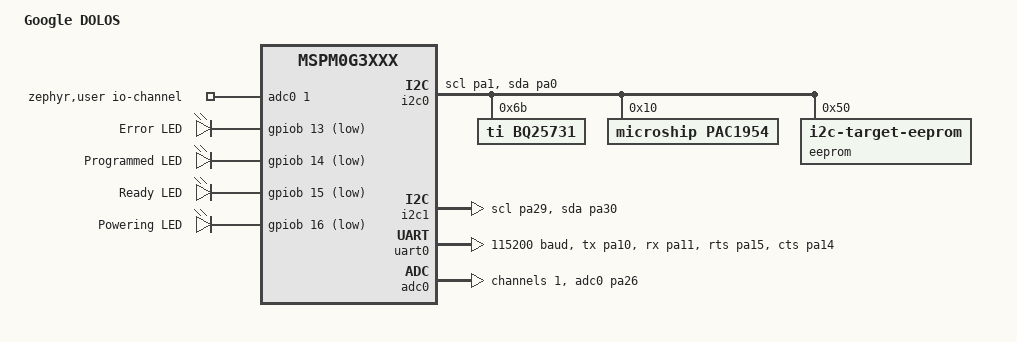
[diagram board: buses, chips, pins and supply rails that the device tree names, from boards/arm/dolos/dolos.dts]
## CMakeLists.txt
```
# Copyright 2024 The ChromiumOS Authors
# Use of this source code is governed by a BSD-style license that can be
# found in the LICENSE file.

cmake_minimum_required(VERSION 3.20.0)

list(APPEND BOARD_ROOT ${CMAKE_CURRENT_SOURCE_DIR})
set(BOARD dolos)

find_package(Zephyr REQUIRED HINTS $ENV{ZEPHYR_BASE})
project(Dolos)

FILE(GLOB src_c src/*.c)

target_sources(app PRIVATE ${src_c} ${drivers_c})
```

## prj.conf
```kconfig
# Copyright 2024 The ChromiumOS Authors
# Use of this source code is governed by a BSD-style license that can be
# found in the LICENSE file.

CONFIG_I2C=y
CONFIG_ADC=y
# enable %f formatting for printf and printk
CONFIG_CBPRINTF_FP_SUPPORT=y
# enable logs
CONFIG_LOG=y
# enable LTO
CONFIG_LTO=y
CONFIG_ISR_TABLES_LOCAL_DECLARATION=y
# enable shell
CONFIG_SHELL=y
CONFIG_SHELL_TAB=y
CONFIG_SHELL_TAB_AUTOCOMPLETION=y
CONFIG_SHELL_BACKEND_SERIAL_INTERRUPT_DRIVEN=y
CONFIG_SHELL_PROMPT_UART="dolos:~> "
CONFIG_I2C_SHELL=y
CONFIG_CRC=y
# enable events
CONFIG_EVENTS=y
# enable state machine framework
CONFIG_SMF=y
# enable LED API
CONFIG_LED=y
# enable system reboot
CONFIG_REBOOT=y
# enable i2c statistics
CONFIG_STATS=y
CONFIG_I2C_STATS=y

# Copied from Ti dev board
# TODO: remove duplicates
CONFIG_CORTEX_M_SYSTICK=y
CONFIG_GPIO=y
CONFIG_SERIAL=y
CONFIG_CONSOLE=y
CONFIG_UART_CONSOLE=y
CONFIG_CLOCK_CONTROL=y
```

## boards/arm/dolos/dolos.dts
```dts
/* Copyright 2024 The ChromiumOS Authors
 * Use of this source code is governed by a BSD-style license that can be
 * found in the LICENSE file.
 */

/dts-v1/;

#include <ti/mspm0g1x0x_g3x0x/mspm0g3507.dtsi>
#include "mspm0g3507-pinctrl.dtsi"
#include "dt-bindings/adc/mspm0_adc.h"

#include <freq.h>

/ {
	model = "Google DOLOS";
	compatible = "google,dolos", "ti,mspm0g3507", "ti,mspm0g3xxx";

	chosen {
		zephyr,sram = &sram0;
		zephyr,flash = &flash0;
		zephyr,console = &uart0;
		zephyr,shell-uart = &uart0;
	};

	zephyr,user {
		io-channels = <&adc0 1>;
	};

	leds: leds {
		compatible = "gpio-leds";
		lederr: led_error {
			gpios = <&gpiob 13 GPIO_ACTIVE_LOW>;
			label = "Error LED";
		};
		ledprg: led_programmed {
			gpios = <&gpiob 14 GPIO_ACTIVE_LOW>;
			label = "Programmed LED";
		};
		ledrdy: led_ready {
			gpios = <&gpiob 15 GPIO_ACTIVE_LOW>;
			label = "Ready LED";
		};
		ledpwr: led_powering {
			gpios = <&gpiob 16 GPIO_ACTIVE_LOW>;
			label = "Powering LED";
		};
	};

	ctrl-pins {
		compatible = "ctrl-pins";
		output_enable: output_enable {
			gpios = <&gpiob 12 GPIO_ACTIVE_HIGH>;
			label = "Dolos output enable control pin";
		};
		system_present: system_present {
			gpios = <&gpioa 13 GPIO_ACTIVE_HIGH>;
			label = "System present input signal";
		};
		efuse_pg: efuse_pg {
			gpios = <&gpiob 27 GPIO_ACTIVE_HIGH>;
			label = "EFUSE power good input signal";
		};
		bq_charge_ok: bq_charge_ok {
			gpios = <&gpioa 17 GPIO_ACTIVE_HIGH>;
			label = "BQ Charge OK input signal";
		};
	};
};

&i2c0 {
	pinctrl-0 = <&i2c0_scl_pa1 &i2c0_sda_pa0>;
	pinctrl-names = "default";
	status = "okay";

	bq25731: bq25731@6b {
		compatible = "ti,bq25731";
		reg = <0x6b>;
	};

	pac1954: pac1954@10 {
		compatible = "microship,pac1954";
		reg = <0x10>;
	};

	eeprom: eeprom@50 {
		compatible = "zephyr,i2c-target-eeprom";
		reg = <0x50>;
		size = <1024>;
	};
};

&i2c1 {
	pinctrl-0 = <&i2c1_scl_pa29 &i2c1_sda_pa30>;
	pinctrl-names = "default";
	status = "okay";
};

&cpu0 {
	clock-frequency = <DT_FREQ_M(32)>;
};

&gpioa {
	status = "okay";
};

&gpiob {
	status = "okay";
};

&uart0 {
	status = "okay";
	current-speed = <115200>;
	pinctrl-0 = <&uart0_tx_pa10 &uart0_rx_pa11 &uart0_rts_pa15 &uart0_cts_pa14>;
	pinctrl-names = "default";
	hw-flow-control;
};

&adc0 {
	status = "okay";
	ti,clk-source = <MSP_ADC_CLOCK_ULPCLK>;
	ti,clk-divider = <1>;
	ti,clk-range = <MSP_ADC_CLOCK_RANGE_24TO32>;

	pinctrl-0 = <&adc0_pa26>;
	pinctrl-names = "default";

	#address-cells = <1>;
	#size-cells = <0>;

	channel@1 {
		reg = <1>;
		zephyr,gain = "ADC_GAIN_1";
		zephyr,reference = "ADC_REF_VDD_1";
		zephyr,acquisition-time =<ADC_ACQ_TIME(ADC_ACQ_TIME_TICKS, 4)>;
		zephyr,resolution = <12>;
	};
};

&clkmux {
	clock-source = <&pll>;
	clock-frequency = <DT_FREQ_M(80)>;
	uclk-div = <2>;
};
```

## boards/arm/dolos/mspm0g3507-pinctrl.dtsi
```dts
#include <dt-bindings/pinctrl/mspm0-pinctrl.h>
&pinctrl {
	i2c0_sda_pa0: i2c0_sda_pa0 {
		pinmux = <MSP_PINMUX(1,MSPM0_PIN_FUNCTION_3)>;
		input-enable;
		drive-open-drain;
	};
	i2c0_scl_pa1: i2c0_scl_pa1 {
		pinmux = <MSP_PINMUX(2,MSPM0_PIN_FUNCTION_3)>;
		input-enable;
		drive-open-drain;
	};
	i2c1_scl_pb2_pull_up: i2c1_scl_pb2_pull_up {
		pinmux = <MSP_PINMUX(15,MSPM0_PIN_FUNCTION_4)>;
		input-enable;
		bias-pull-up;
		drive-open-drain;
	};
	i2c1_sda_pb3_pull_up: i2c1_sda_pb3_pull_up {
		pinmux = <MSP_PINMUX(16,MSPM0_PIN_FUNCTION_4)>;
		input-enable;
		bias-pull-up;
		drive-open-drain;
	};
	i2c1_scl_pb2: i2c1_scl_pb2 {
		pinmux = <MSP_PINMUX(15,MSPM0_PIN_FUNCTION_4)>;
		input-enable;
		drive-open-drain;
	};
	i2c1_sda_pb3: i2c1_sda_pb3 {
		pinmux = <MSP_PINMUX(16,MSPM0_PIN_FUNCTION_4)>;
		input-enable;
		drive-open-drain;
	};
	i2c1_scl_pa11_pull_up: i2c1_scl_pa11_pull_up {
		pinmux = <MSP_PINMUX(22,MSPM0_PIN_FUNCTION_8)>;
		input-enable;
		bias-pull-up;
		drive-open-drain;
	};
	i2c1_sda_pa10_pull_up: i2c1_sda_pa10_pull_up {
		pinmux = <MSP_PINMUX(21,MSPM0_PIN_FUNCTION_8)>;
		input-enable;
		bias-pull-up;
		drive-open-drain;
	};
	i2c1_sda_pa16_pull_up: i2c1_sda_pa16_pull_up {
		pinmux = <MSP_PINMUX(38,MSPM0_PIN_FUNCTION_4)>;
		input-enable;
		bias-pull-up;
		drive-open-drain;
	};
	i2c1_scl_pa17_pull_up: i2c1_scl_pa17_pull_up {
		pinmux = <MSP_PINMUX(39,MSPM0_PIN_FUNCTION_4)>;
		input-enable;
		bias-pull-up;
		drive-open-drain;
	};
	i2c1_scl_pa29_pull_up: i2c1_scl_pa29_pull_up {
		pinmux = <MSP_PINMUX(4,MSPM0_PIN_FUNCTION_2)>;
		input-enable;
		bias-pull-up;
		drive-open-drain;
	};
	i2c1_sda_pa30_pull_up: i2c1_sda_pa30_pull_up {
		pinmux = <MSP_PINMUX(5,MSPM0_PIN_FUNCTION_2)>;
		input-enable;
		bias-pull-up;
		drive-open-drain;
	};
	i2c1_scl_pa29: i2c1_scl_pa29 {
		pinmux = <MSP_PINMUX(4,MSPM0_PIN_FUNCTION_2)>;
		input-enable;
		drive-open-drain;
	};
	i2c1_sda_pa30: i2c1_sda_pa30 {
		pinmux = <MSP_PINMUX(5,MSPM0_PIN_FUNCTION_2)>;
		input-enable;
		drive-open-drain;
	};
	uart0_tx_pa10: uart_tx_pa10 {
		pinmux = <MSP_PINMUX(21,MSPM0_PIN_FUNCTION_2)>;
	};
	uart0_rx_pa11: uart_rx_pa11 {
		pinmux = <MSP_PINMUX(22,MSPM0_PIN_FUNCTION_2)>;
		input-enable;
	};
	uart0_rts_pa15: uart0_rts_pa15{
		pinmux = <MSP_PINMUX(37,MSPM0_PIN_FUNCTION_2)>;
		input-enable;
	};
	uart0_cts_pa14: uart0_cts_pa14{
		pinmux = <MSP_PINMUX(36,MSPM0_PIN_FUNCTION_2)>;
		input-enable;
	};
	adc0_pa25: adc0_pa25 {
		pinmux = <MSP_PINMUX(55,MSPM0_PIN_FUNCTION_ANALOG)>;
	};
	adc0_pa26: adc0_pa26 {
		pinmux = <MSP_PINMUX(59,MSPM0_PIN_FUNCTION_ANALOG)>;
	};
	adc0_pb24: adc0_pb24 {
		pinmux = <MSP_PINMUX(52,MSPM0_PIN_FUNCTION_ANALOG)>;
	};
	adc1_pb19: adc1_pb19 {
		pinmux = <MSP_PINMUX(45,MSPM0_PIN_FUNCTION_ANALOG)>;
	};
	can0_rx_pa13: can0_rx_pa13 {
		pinmux = <MSP_PINMUX(35,MSPM0_PIN_FUNCTION_6)>;
		input-enable;
	};
	can0_tx_pa12: can0_tx_pa12 {
		pinmux = <MSP_PINMUX(34,MSPM0_PIN_FUNCTION_5)>;
	};
};
```

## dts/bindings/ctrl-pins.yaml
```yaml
# Copyright 2024 The ChromiumOS Authors
# Use of this source code is governed by a BSD-style license that can be
# found in the LICENSE file.

description: Dolos control pins

compatible: "ctrl-pins"

child-binding:
  description: |
    Control pins child node
  properties:
    gpios:
      type: phandle-array
      required: true
      description: |
        The GPIO pin for control I/O
    label:
      type: string
      description: |
        Human readable string describing the control pin
```

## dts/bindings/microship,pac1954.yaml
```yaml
# Copyright 2024 The ChromiumOS Authors
# Use of this source code is governed by a BSD-style license that can be
# found in the LICENSE file.

description: PAC195X Single/Multi-Channel Power Monitor with Accumulator, 32V Full-Scale Range

compatible: "microship,pac1954"

include: i2c-device.yaml
```

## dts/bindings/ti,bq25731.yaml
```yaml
# Copyright 2024 The ChromiumOS Authors
# Use of this source code is governed by a BSD-style license that can be
# found in the LICENSE file.

description: BQ25731 I2C 1- to 5-Cell Buck-Boost Battery Charge Controller with USB-C PD 3.0OTG Output

compatible: "ti,bq25731"

include: i2c-device.yaml
```

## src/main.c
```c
/* Copyright 2024 The ChromiumOS Authors
 * Use of this source code is governed by a BSD-style license that can be
 * found in the LICENSE file.
 */

#include "eeprom.h"
#include "led.h"
#include "smart_battery.h"
#include "smbus_target.h"

#include <zephyr/device.h>
#include <zephyr/kernel.h>
#include <zephyr/sys/printk.h>

int main(void)
{
	printk("Starting Dolos\n");

	dled_program_led_turn_on();

	// EEPROM checks
	if (eeprom_read_data() != 0) {
		// We can not read the EEPROM
		dled_error_led_turn_on();
	} else if (eeprom_crc32_check() != 0) {
		// EEPROM CRC is invalid
		dled_error_led_turn_on();
	}

	sb_init();
	smbus_target_init();

	while (true) {
		k_sleep(K_FOREVER);
	}
}
```

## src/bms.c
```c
/* Copyright 2024 The ChromiumOS Authors
 * Use of this source code is governed by a BSD-style license that can be
 * found in the LICENSE file.
 */

#include "bms.h"
#include "buck_boost.h"
#include "eeprom.h"
#include "error.h"
#include "led.h"
#include "smbus_target.h"

#include <stdint.h>

#include <zephyr/device.h>
#include <zephyr/drivers/gpio.h>
#include <zephyr/kernel.h>
#include <zephyr/logging/log.h>
#include <zephyr/smf.h>

static bool power_output_state = false;
LOG_MODULE_REGISTER(bms, LOG_LEVEL_DBG);

/**
 * GPIO info
 */
static const struct gpio_dt_spec sys_pres_spec =
	GPIO_DT_SPEC_GET(DT_NODELABEL(system_present), gpios);
static const struct gpio_dt_spec out_en_spec =
	GPIO_DT_SPEC_GET(DT_NODELABEL(output_enable), gpios);
static const struct gpio_dt_spec efuse_pg_spec =
	GPIO_DT_SPEC_GET(DT_NODELABEL(efuse_pg), gpios);
static const struct gpio_dt_spec bq_chrg_ok =
	GPIO_DT_SPEC_GET(DT_NODELABEL(bq_charge_ok), gpios);

static bool sys_pres_pol = true;
/**
 * There are certain devices that should not be powered on
 * only based on sys_present signal but also extra I2C communication
 */
static bool sys_pres_is_floating = false;
static bool force_sys_pres_flag;
static bool force_sys_pres_value;

/**
 * Gets the system present signal and takes polarity into condsideration
 */
static bool gpio_get_sys_pres(void)
{
	if (force_sys_pres_flag) {
		return force_sys_pres_value;
	}

	bool sys_pres_sig = gpio_pin_get_dt(&sys_pres_spec);
	return (sys_pres_pol == sys_pres_sig);
}

/**
 * @brief Enables Dolos output.
 */
static void bms_enable_power_output(bool enable)
{
	if (enable) {
		gpio_pin_set_dt(&out_en_spec, 1);
		power_output_state = true;
		dled_powering_led_turn_on();
	} else {
		gpio_pin_set_dt(&out_en_spec, 0);
		power_output_state = false;
		dled_powering_led_turn_off();
	}
}

enum gpio_config_idx {
	GPIO_CONFIG_IDX_SYS_PRES = 0,
	GPIO_CONFIG_IDX_EFUSE_PG,
	GPIO_CONFIG_IDX_BQ_CHRG_OK,
	GPIO_CONFIG_IDX_OUT_EN,
};

bool bms_get_power_output_state()
{
	return power_output_state;
}

/**
 * Helper struct to initialize GPIO
 */
struct gpio_config {
	const struct gpio_dt_spec *pin_spec;
	uint32_t flags;
};

static struct gpio_config gpio_configs[] = {
	[GPIO_CONFIG_IDX_SYS_PRES] = { &sys_pres_spec, GPIO_INPUT },
	[GPIO_CONFIG_IDX_EFUSE_PG] = { &efuse_pg_spec, GPIO_INPUT },
	[GPIO_CONFIG_IDX_BQ_CHRG_OK] = { &bq_chrg_ok, GPIO_INPUT },
	[GPIO_CONFIG_IDX_OUT_EN] = { &out_en_spec, GPIO_OUTPUT_INACTIVE },
};

/**
 * BMS info
 */
struct bms_signal_state_tracker {
	/* Current state of the pin - true = HIGH, false = LOW */
	bool state;
	/* No of ticks passed since the low/high state. */
	uint8_t ticks[2];
	/* No of ticks needed to switch to that state. */
	uint8_t min_ticks[2];
	/*stats for state changes*/
	uint32_t state_count;
};

static struct bms_signal_state_tracker efuse_signal_state = {
	.state = false,
	.ticks = { 0 },
	.min_ticks = { 2, 2 },
	.state_count = 0,
};

static struct bms_signal_state_tracker system_present_signal_state = {
	.state = false,
	.ticks = { 0 },
	.min_ticks = { 2, 2 },
	.state_count = 0,

};

static struct bms_signal_state_tracker bq_charge_ok_signal_state = {
	.state = false,
	.ticks = { 0 },
	.min_ticks = { 1, 1 },
	.state_count = 0,
};

/**
 * EFUSE_PG Timer
 */
struct k_timer efuse_pg_timer;

K_TIMER_DEFINE(efuse_pg_timer, NULL, NULL);

/**
 * State machine info
 */
struct bms_state_data {
	struct smf_ctx ctx;
} state_data;

static const struct smf_state bms_states[];

/**
 * @brief BMS_STATE_POWER_OUTPUT_OFF entry handler
 */
static void power_output_off_state_entry(void *o)
{
	LOG_DBG("Executing %s entry", ENUM_NAME(BMS_STATE_POWER_OUTPUT_OFF));
	bms_enable_power_output(false);
}

/**
 * @brief BMS_STATE_POWER_OUTPUT_OFF run handler
 */
static void power_output_off_state_run(void *o)
{
	if (system_present_signal_state.state &&
	    bq_charge_ok_signal_state.state) {
		LOG_DBG("Changing state to %s", ENUM_NAME(BMS_STATE_TIMER));
		smf_set_state(SMF_CTX(&state_data),
			      &bms_states[BMS_STATE_TIMER]);
	}
}

static void handle_disconnect(void)
{
	if (sys_pres_is_floating) {
		LOG_DBG("Changing state to %s",
			ENUM_NAME(BMS_STATE_COMM_POWER_OFF));
		smf_set_state(SMF_CTX(&state_data),
			      &bms_states[BMS_STATE_COMM_POWER_OFF]);
	} else {
		LOG_DBG("Changing state to %s",
			ENUM_NAME(BMS_STATE_POWER_OUTPUT_OFF));
		smf_set_state(SMF_CTX(&state_data),
			      &bms_states[BMS_STATE_POWER_OUTPUT_OFF]);
	}
}

/**
 * @brief BMS_STATE_TIMER entry handler
 */
static void timer_state_entry(void *o)
{
	LOG_DBG("Executing %s entry", ENUM_NAME(BMS_STATE_TIMER));

	/* Make sure BQ is initialized correctly before enabling the output */
	bq25731_init();

	bms_enable_power_output(true);
	k_timer_start(&efuse_pg_timer, K_SECONDS(5), K_NO_WAIT);
}

/**
 * @brief BMS_STATE_TIMER run handler
 */
static void timer_state_run(void *o)
{
	if (!system_present_signal_state.state ||
	    !bq_charge_ok_signal_state.state) {
		handle_disconnect();
		return;
	}

	if (k_timer_status_get(&efuse_pg_timer) == 0) {
		return;
	}

	if (efuse_signal_state.state) {
		LOG_DBG("Changing state to %s",
			ENUM_NAME(BMS_STATE_POWER_OUTPUT_ON));
		smf_set_state(SMF_CTX(&state_data),
			      &bms_states[BMS_STATE_POWER_OUTPUT_ON]);
	} else {
		LOG_DBG("Changing state to %s",
			ENUM_NAME(BMS_STATE_POWER_GOOD_WAIT));
		smf_set_state(SMF_CTX(&state_data),
			      &bms_states[BMS_STATE_POWER_GOOD_WAIT]);
	}
}

/**
 * @brief BMS_STATE_POWER_GOOD_WAIT entry handler
 */
static void power_good_wait_state_entry(void *o)
{
	LOG_DBG("Executing %s entry", ENUM_NAME(BMS_STATE_POWER_GOOD_WAIT));
	bms_enable_power_output(false);
}

/**
 * @brief BMS_STATE_POWER_GOOD_WAIT run handler
 */
static void power_good_wait_state_run(void *o)
{
	if (!system_present_signal_state.state ||
	    !bq_charge_ok_signal_state.state) {
		handle_disconnect();
		return;
	}

	if (efuse_signal_state.state) {
		LOG_DBG("Changing state to %s",
			ENUM_NAME(BMS_STATE_POWER_OUTPUT_ON));
		smf_set_state(SMF_CTX(&state_data),
			      &bms_states[BMS_STATE_POWER_OUTPUT_ON]);
	}
}

/**
 * @brief BMS_STATE_POWER_OUTPUT_ON entry handler
 */
static void power_output_on_state_entry(void *o)
{
	LOG_DBG("Executing %s entry", ENUM_NAME(BMS_STATE_POWER_OUTPUT_ON));
	bms_enable_power_output(true);
}

/**
 * @brief BMS_STATE_POWER_OUTPUT_ON run handler
 */
static void power_output_on_state_run(void *o)
{
	if (!system_present_signal_state.state ||
	    !bq_charge_ok_signal_state.state) {
		handle_disconnect();
		return;
	}

	if (!efuse_signal_state.state) {
		LOG_DBG("Changing state to %s",
			ENUM_NAME(BMS_STATE_POWER_GOOD_WAIT));
		smf_set_state(SMF_CTX(&state_data),
			      &bms_states[BMS_STATE_POWER_GOOD_WAIT]);
	}
}

/**
 * @brief BMS_STATE_COMM_POWER_OFF entry handler
 */
static void comm_power_off_state_entry(void *o)
{
	LOG_DBG("Executing %s entry", ENUM_NAME(BMS_STATE_COMM_POWER_OFF));
	bms_enable_power_output(false);
}

/**
 * @brief BMS_STATE_COMM_POWER_OFF run handler
 */
static void comm_power_off_state_run(void *o)
{
	/*
	 * For devices with float polarity we should go out of power off state
	 * only when both sys_prest and smbus communication asserted.
	 * However we still want to persist forcing functionality working
	 * for devices with float polarity, as that is useful for debugging -
	 * this is why extra OR condition is applied.
	 * system_present_signal_state would be equal forced value when force
	 * flag on.
	 */
	if (system_present_signal_state.state &&
	    (smbus_target_is_comms_detected_short() || force_sys_pres_flag) &&
	    bq_charge_ok_signal_state.state) {
		LOG_DBG("Changing state to %s", ENUM_NAME(BMS_STATE_TIMER));
		smf_set_state(SMF_CTX(&state_data),
			      &bms_states[BMS_STATE_TIMER]);
	}
}

static const struct smf_state bms_states[] = {
	[BMS_STATE_POWER_OUTPUT_OFF] =
		SMF_CREATE_STATE(power_output_off_state_entry,
				 power_output_off_state_run, NULL, NULL, NULL),
	[BMS_STATE_TIMER] = SMF_CREATE_STATE(timer_state_entry, timer_state_run,
					     NULL, NULL, NULL),
	[BMS_STATE_POWER_GOOD_WAIT] =
		SMF_CREATE_STATE(power_good_wait_state_entry,
				 power_good_wait_state_run, NULL, NULL, NULL),
	[BMS_STATE_POWER_OUTPUT_ON] =
		SMF_CREATE_STATE(power_output_on_state_entry,
				 power_output_on_state_run, NULL, NULL, NULL),
	[BMS_STATE_COMM_POWER_OFF] =
		SMF_CREATE_STATE(comm_power_off_state_entry,
				 comm_power_off_state_run, NULL, NULL, NULL),
};

/**
 * State machine thread info
 */
#define BMS_STATE_MACHINE_THREAD_STACK_SIZE 512
#define BMS_STATE_MACHINE_THREAD_PRIORITY 0

/**
 * @brief BMS state machine task function. Runs the current state handler
 * continously.
 */
void bms_state_machine_task_fn(void *, void *, void *);

K_THREAD_STACK_DEFINE(bms_state_machine_thread_stack_area,
		      BMS_STATE_MACHINE_THREAD_STACK_SIZE);
struct k_thread bms_state_machine_thread_data;

/**
 * BMS tick handler thread info
 */
#define BMS_TICK_HANDLER_THREAD_STACK_SIZE 512
#define BMS_TICK_HANDLER_THREAD_PRIORITY 0

/**
 * @brief BMS tick handler task function. Monitors the change of state for each
 * GPIO control pin every 1 second.
 */
void bms_tick_handler_task_fn(void *, void *, void *);

K_THREAD_DEFINE(bms_tick_handler_thread, BMS_TICK_HANDLER_THREAD_STACK_SIZE,
		bms_tick_handler_task_fn, NULL, NULL, NULL,
		BMS_TICK_HANDLER_THREAD_PRIORITY, 0, 0);

/**
 * @brief Proccesses signal state change.
 *
 * @return Returns true if state changed, false otherwise.
 */
static bool bms_process_state_change(struct bms_signal_state_tracker *tracker,
				     bool new_state)
{
	if (tracker->ticks[new_state] < tracker->min_ticks[new_state]) {
		tracker->ticks[new_state]++;
	} else if (tracker->state != new_state) {
		tracker->state = new_state;
		tracker->ticks[!new_state] = 0;
		return true;
	}
	return false;
}

/**
 * @brief Initializes the BMS GPIO control pins
 *
 * @retval 0 on success
 * @retval Negative on failure
 */
static int bms_init(void)
{
	int ret;
	uint8_t sys_pres_pol_eeprom;

	LOG_DBG("Getting System present polarity");
	sys_pres_pol_eeprom = eeprom_get_sys_pres_pol();

	switch (sys_pres_pol_eeprom) {
	case SYS_PRES_POL_LOW:
		sys_pres_is_floating = false;
		sys_pres_pol = false;
		gpio_configs[GPIO_CONFIG_IDX_SYS_PRES].flags |= GPIO_PULL_UP;
		break;
	case SYS_PRES_POL_FLOAT:
		sys_pres_is_floating = true;
		sys_pres_pol = true;
		gpio_configs[GPIO_CONFIG_IDX_SYS_PRES].flags |= GPIO_PULL_UP;
		break;
	case SYS_PRES_POL_HIGH:
		sys_pres_is_floating = false;
		sys_pres_pol = true;
		/* No pull up resistor needed for polarity HIGH */
		break;
	default:
		DOLOS_LOG_ERR(ERROR_BMS, -ENOTSUP,
			      "Not supported EEPROM SYS_POLARITY: %d",
			      sys_pres_pol_eeprom);
		return -ENOTSUP;
	}

	LOG_DBG("System present polarity obtained, sys_pres_pol=%d%s",
		sys_pres_pol,
		(sys_pres_pol ? "" : ", configured a pullup resistor"));

	LOG_DBG("Initializing GPIO pins");

	for (size_t i = 0; i < ARRAY_SIZE(gpio_configs); i++) {
		struct gpio_config *pin_config = &gpio_configs[i];

		if (!gpio_is_ready_dt(pin_config->pin_spec)) {
			DOLOS_LOG_ERR(ERROR_BMS, ret,
				      "GPIO Pin %s is not ready",
				      pin_config->pin_spec->port->name);
			return -ENOTSUP;
		}

		ret = gpio_pin_configure_dt(pin_config->pin_spec,
					    pin_config->flags);
		if (ret != 0) {
			DOLOS_LOG_ERR(
				ERROR_BMS, ret,
				"Failed to configure input pin %s, err=%d",
				pin_config->pin_spec->port->name, ret);
			return ret;
		}
	}

	LOG_DBG("Initialized all GPIO bins successfully");

	return 0;
}

/**
 * @brief Check and change the state if the GPIO control pin signal is stable
 * for at least a certain number of ticks.
 */
void bms_tick_handler(void)
{
	/* Check and change SW states if HW signal is stable for at least given
	 * number of seconds. */
	if (bms_process_state_change(&system_present_signal_state,
				     gpio_get_sys_pres())) {
		LOG_DBG("Detected a change in SYSTEM_PRESENT, signal=%d",
			system_present_signal_state.state);
		system_present_signal_state.state_count++;
	}

	if (bms_process_state_change(&bq_charge_ok_signal_state,
				     gpio_pin_get_dt(&bq_chrg_ok))) {
		LOG_DBG("Detected a change in BQ_CHRG_OK, signal=%d",
			bq_charge_ok_signal_state.state);
		bq_charge_ok_signal_state.state_count++;
	}

	if (bms_process_state_change(&efuse_signal_state,
				     gpio_pin_get_dt(&efuse_pg_spec))) {
		LOG_DBG("Detected a change in EFUSE_PG, signal=%d",
			efuse_signal_state.state);
		efuse_signal_state.state_count++;
	}

	/* Dolos is considered ready when BB CHARGE OK signal is asserted. */
	if (bq_charge_ok_signal_state.state) {
		dled_ready_led_turn_on();
	} else {
		dled_ready_led_turn_off();
	}
}

bool bms_get_chrg_ok(void)
{
	return bq_charge_ok_signal_state.state;
}

bool bms_get_efuse_pg(void)
{
	return efuse_signal_state.state;
}

bool bms_get_sys_pres(void)
{
	if (sys_pres_is_floating) {
		return gpio_get_sys_pres() &&
		       smbus_target_is_comms_detected_short();
	}

	return gpio_get_sys_pres();
}

bool bms_get_sys_pres_raw(void)
{
	return gpio_pin_get_dt(&sys_pres_spec);
}

bool bms_get_sys_pres_pol(void)
{
	return sys_pres_pol;
}

bool bms_get_sys_pres_is_floating(void)
{
	return sys_pres_is_floating;
}

bool bms_is_sys_pres_forced(void)
{
	return force_sys_pres_flag;
}

enum bms_state bms_get_curr_state(void)
{
	const struct smf_state *current_state = state_data.ctx.current;

	for (size_t i = 0; i < ARRAY_SIZE(bms_states); i++) {
		if (current_state == &bms_states[i]) {
			return (enum bms_state)i;
		}
	}

	return BMS_STATE_INVALID;
}

void bms_state_machine_task_fn(void *p1, void *p2, void *p3)
{
	ARG_UNUSED(p1);
	ARG_UNUSED(p2);
	ARG_UNUSED(p3);

	int ret;

	smf_set_initial(SMF_CTX(&state_data),
			&bms_states[BMS_STATE_POWER_OUTPUT_OFF]);

	while (true) {
		ret = smf_run_state(SMF_CTX(&state_data));

		if (ret != 0) {
			DOLOS_LOG_ERR(ERROR_BMS, ret,
				      "State machine failed to execute, err=%d",
				      ret);
			smf_set_terminate(SMF_CTX(&state_data), ret);
		}

		k_sleep(K_MSEC(50));
	}
}

void bms_tick_handler_task_fn(void *p1, void *p2, void *p3)
{
	ARG_UNUSED(p1);
	ARG_UNUSED(p2);
	ARG_UNUSED(p3);

	int ret;

	ret = bms_init();

	if (ret != 0) {
		DOLOS_LOG_ERR(ERROR_BMS, ret,
			      "Failed to start BMS tick handler task, err=%d",
			      ret);
		return;
	}

	k_thread_create(
		&bms_state_machine_thread_data,
		bms_state_machine_thread_stack_area,
		K_THREAD_STACK_SIZEOF(bms_state_machine_thread_stack_area),
		bms_state_machine_task_fn, NULL, NULL, NULL,
		BMS_STATE_MACHINE_THREAD_PRIORITY, 0, K_NO_WAIT);

	while (true) {
		bms_tick_handler();
		k_sleep(K_SECONDS(1));
	}
}

static int cmd_bms_sys_pres_force_handler(const struct shell *sh, size_t argc,
					  char **argv, void *data)
{
	if (strcmp("on", (char *)data) == 0) {
		force_sys_pres_flag = true;
		force_sys_pres_value = true;

		shell_print(sh, "Forcing system to be always present");
	} else if (strcmp("off", (char *)data) == 0) {
		force_sys_pres_flag = true;
		force_sys_pres_value = false;

		shell_print(sh, "Forcing system to be always absent");
	} else {
		force_sys_pres_flag = false;

		shell_print(sh, "Disabling the forced system present signal");
	}
	return 0;
}

static int cmd_bms_sys_pres_handler(const struct shell *sh, size_t argc,
				    char **argv)
{
	shell_print(sh, "System present polarity: %s%s",
		    sys_pres_pol ? "HIGH" : "LOW",
		    sys_pres_is_floating ? " (floating)" : "");

	shell_print(sh, "System present: %s %s",
		    bms_get_sys_pres() ? "Present" : "Not present",
		    force_sys_pres_flag ? "(forced)" : "");

	return 0;
}

int print_gpio_stats_handler(const struct shell *sh, size_t argc, char **argv)
{
	shell_print(sh, "GPIO Statistics:");
	shell_print(sh, "   GPIO BQ_CHRG_OK int count     : %u",
		    bq_charge_ok_signal_state.state_count);
	shell_print(sh, "   GPIO SYSTEM_PRESENT int count : %u",
		    system_present_signal_state.state_count);
	shell_print(sh, "   GPIO EFUSE_PG                 : %u",
		    efuse_signal_state.state_count);
	return 0;
}

SHELL_SUBCMD_DICT_SET_CREATE(sys_pres_sub_cmd, cmd_bms_sys_pres_force_handler,
			     (on, "on", "Force system to be present"),
			     (off, "off", "Force system to be absent"),
			     (disable, "disable", "Disable the forced value"));

SHELL_CMD_REGISTER(sys_pres, &sys_pres_sub_cmd,
		   "Forces system present signal to set value (on/off/disable)",
		   cmd_bms_sys_pres_handler);
```

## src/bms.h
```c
/* Copyright 2024 The ChromiumOS Authors
 * Use of this source code is governed by a BSD-style license that can be
 * found in the LICENSE file.
 */

#ifndef BMS_H_
#define BMS_H_

#include <stdbool.h>

#include <zephyr/shell/shell.h>

/* BMS states */
enum bms_state {
	BMS_STATE_POWER_OUTPUT_OFF = 0,
	BMS_STATE_TIMER,
	BMS_STATE_POWER_GOOD_WAIT,
	BMS_STATE_POWER_OUTPUT_ON,
	BMS_STATE_COMM_POWER_OFF,
	BMS_STATE_INVALID,
};

#define EXPAND_ENUM_NAME(x) #x
#define ENUM_NAME(x) EXPAND_ENUM_NAME(x)

/**
 * @brief Returns BQ_CHRG_OK signal
 *
 * @return True if HIGH, false if LOW
 */
bool bms_get_chrg_ok(void);

/**
 * @brief Returns EFUSE_PG signal
 *
 * @return True if HIGH, false if LOW
 */
bool bms_get_efuse_pg(void);

/**
 * @brief Returns SYSTEM_PRESENT signal
 *
 * @return True if HIGH, false if LOW
 */
bool bms_get_sys_pres(void);

/**
 * @brief Is SYSTEM_PRESENT floating signal
 *
 * @return True if YES, false if NO
 */
bool bms_get_sys_pres_is_floating(void);

/**
 * @brief Returns raw SYSTEM_PRESENT signal, ignoring the forced value
 *
 * @return True if HIGH, false if LOW
 */
bool bms_get_sys_pres_raw(void);

/**
 * @brief Returns SYSTEM_PRESENT polarity
 *
 * @return True if HIGH, false if LOW
 */
bool bms_get_sys_pres_pol(void);

/**
 * @brief Checks if SYSTEM_PRESENT was forced
 *
 * @return True if forced, false otherwise
 */
bool bms_is_sys_pres_forced(void);

/**
 * @brief Returns the BMS state that is being executed
 *
 * @return current BMS state
 */
enum bms_state bms_get_curr_state(void);

int print_gpio_stats_handler(const struct shell *sh, size_t argc, char **argv);

bool bms_get_power_output_state(void);
#endif
```

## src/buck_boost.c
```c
/* Copyright 2024 The ChromiumOS Authors
 * Use of this source code is governed by a BSD-style license that can be
 * found in the LICENSE file.
 */

#include "buck_boost.h"
#include "eeprom_layout.h"
#include "error.h"
#include "smart_battery.h"

#include <zephyr/drivers/i2c.h>
#include <zephyr/logging/log.h>
#include <zephyr/shell/shell.h>
#include <zephyr/sys/byteorder.h>

#define DT_DRV_COMPAT ti_bq25731

static const struct i2c_dt_spec i2c_spec = I2C_DT_SPEC_INST_GET(0);
LOG_MODULE_REGISTER(buck_boost, LOG_LEVEL_DBG);

enum bq_reg_space {
	BQ_REG_CHARGE_OPTION_0 = 0x00,
	BQ_REG_CHARGE_CURRENT = 0x02,
	BQ_REG_CHARGE_VOLTAGE = 0x04,
	BQ_REG_INPUT_CURRENT_LIM = 0x0E,
	BQ_REG_CHARGE_OPTION_1 = 0x30,
	BQ_REG_CHARGE_OPTION_2 = 0x32,
};

#define BQ_REG_CHARGE_OPTION_0_VALUE 0x010a
#define BQ_REG_CHARGE_OPTION_1_VALUE 0x3700
#define BQ_REG_CHARGE_OPTION_2_VALUE 0x0037

/*
 * Determined values based on Output Voltage and Over Current
 * limits specified in Dolos specification point - 6.3.
 * For Input current limits also converted from decimal values
 * to HEX value expected by BQ25731 7bit wide register.
 */
#define BQ_REG_INPUT_CURRENT_LIM_11500_MA 0x7300
#define BQ_REG_INPUT_CURRENT_LIM_8000_MA 0x5000
#define BQ_REG_INPUT_CURRENT_LIM_6000_MA 0x3C00
#define BQ_MAX_DESIGN_VOLTAGE_1S_MV 4200
#define BQ_MAX_DESIGN_VOLTAGE_2S_MV 8400
#define BQ_MAX_DESIGN_VOLTAGE_3S_MV 13200
#define BQ_MAX_DESIGN_VOLTAGE_4S_MV 17600

#define BQ_REG_CHARGE_VOLTAGE_MASK 0x7ff8
#define BQ_REG_CHARGE_CURRENT_MASK 0x1fc0

#define BQ_REG_CHARGE_CURRENT_SHIFT 1

struct bq_reg_config {
	enum bq_reg_space reg_address;
	uint16_t value;
};

/** Write to a bq register through i2c
 */
static int bq25731_write_config(enum bq_reg_space reg_address, uint16_t value)
{
	int ret;

	uint8_t write_buf[3];

	write_buf[0] = reg_address;
	write_buf[1] = value;
	write_buf[2] = value >> 8;

	ret = i2c_write_dt(&i2c_spec, write_buf, sizeof(write_buf));
	if (ret) {
		DOLOS_LOG_ERR(ERROR_BUCKBOOST, ret,
			      "Buck boost write failed - register(%#2x): %d",
			      reg_address, ret);
		return ret;
	}

	return ret;
}

/**
 * @brief Writes BQ25731 ChargeCurrent register from DesignCapacity smart
 * battery register
 *
 * @retval 0 on success
 * @retval Negative on failure
 */
static int bq25731_write_charge_current_sb(void)
{
	uint16_t design_capacity;
	uint16_t charge_current;
	int ret;

	design_capacity = sb_get_design_capacity_mah();

	charge_current = (design_capacity >> BQ_REG_CHARGE_CURRENT_SHIFT) &
			 BQ_REG_CHARGE_CURRENT_MASK;
	if (charge_current != design_capacity >> BQ_REG_CHARGE_CURRENT_SHIFT) {
		LOG_WRN("Value of SB_DESIGN_CAPACITY will be masked when converted to ChargeCurrent, design_capacity=0x%04x, charge_current=0x%04x",
			design_capacity, charge_current);
	}

	ret = bq25731_write_config(BQ_REG_CHARGE_CURRENT, charge_current);

	if (ret != 0) {
		DOLOS_LOG_ERR(
			ERROR_BUCKBOOST, ret,
			"Failed write BQ_REG_CHARGE_CURRENT from smart battery register SB_DESIGN_CAPACITY, bq_addr=0x%02x, sb_addr=0x%02x, data=0x%04x, err=%d",
			BQ_REG_CHARGE_CURRENT, SB_DESIGN_CAPACITY,
			charge_current, ret);
		return ret;
	}

	LOG_DBG("Wrote BQ BQ_REG_CHARGE_CURRENT from smart battery register SB_DESIGN_CAPACITY, bq_addr=0x%02x, sb_addr=0x%02x, data=0x%04x",
		BQ_REG_CHARGE_CURRENT, SB_DESIGN_CAPACITY, charge_current);

	return 0;
}

/**
 * @brief Writes BQ25731 ChargeVoltage register from DesignVoltage smart
 * battery register
 *
 * @retval 0 on success
 * @retval Negative on failure
 */
static int bq25731_write_charge_voltage_sb(void)
{
	int ret;
	uint16_t design_voltage;
	uint16_t charge_voltage;

	ret = sb_reg_read(SB_DESIGN_VOLTAGE, (uint8_t *)&design_voltage,
			  sizeof(design_voltage));
	if (ret < 0) {
		DOLOS_LOG_ERR(
			ERROR_BUCKBOOST, ret,
			"Failed to read register SB_DESIGN_VOLTAGE from smart battery, err=%d",
			ret);
		return ret;
	}

	charge_voltage = design_voltage & BQ_REG_CHARGE_VOLTAGE_MASK;
	if (design_voltage != charge_voltage) {
		LOG_WRN("Value of SB_DESIGN_VOLTAGE will be masked when converted to ChargeVoltage, design_voltage=0x%04x, charge_voltage=0x%04x",
			design_voltage, charge_voltage);
	}

	ret = bq25731_write_config(BQ_REG_CHARGE_VOLTAGE, charge_voltage);

	if (ret != 0) {
		DOLOS_LOG_ERR(
			ERROR_BUCKBOOST, ret,
			"Failed write BQ_REG_CHARGE_CURRENT from smart battery register SB_DESIGN_VOLTAGE, bq_addr=0x%02x, sb_addr=0x%02x, data=0x%04x, err=%d",
			BQ_REG_CHARGE_VOLTAGE, SB_DESIGN_VOLTAGE,
			charge_voltage, ret);
		return ret;
	}

	LOG_DBG("Wrote BQ BQ_REG_CHARGE_VOLTAGE from smart battery register SB_DESIGN_VOLTAGE, bq_addr=0x%02x, sb_addr=0x%02x, data=0x%04x",
		BQ_REG_CHARGE_VOLTAGE, SB_DESIGN_VOLTAGE, charge_voltage);

	return 0;
}

/**
 * @brief Writes BQ25731 Input current limit register basing on
 * DesignVoltage smart battery register
 *
 * @retval 0 on success
 * @retval different then 0 on failure
 */
static int bq25731_write_current_limit_sb(void)
{
	int ret;
	uint16_t design_voltage;
	uint16_t input_current_limit_ma;

	ret = sb_reg_read(SB_DESIGN_VOLTAGE, (uint8_t *)&design_voltage,
			  sizeof(design_voltage));
	if (ret < 0) {
		DOLOS_LOG_ERR(
			ERROR_BUCKBOOST, ret,
			"Failed to read register SB_DESIGN_VOLTAGE from smart battery, err=%d",
			ret);
		return ret;
	}

	/*
	 * Implements limits specified in Dolos specification point - 6.3.
	 */
	if (design_voltage <= BQ_MAX_DESIGN_VOLTAGE_2S_MV) {
		input_current_limit_ma = BQ_REG_INPUT_CURRENT_LIM_11500_MA;
	} else if (design_voltage <= BQ_MAX_DESIGN_VOLTAGE_3S_MV) {
		input_current_limit_ma = BQ_REG_INPUT_CURRENT_LIM_8000_MA;
	} else {
		input_current_limit_ma = BQ_REG_INPUT_CURRENT_LIM_6000_MA;
	}

	ret = bq25731_write_config(BQ_REG_INPUT_CURRENT_LIM,
				   input_current_limit_ma);

	if (ret != 0) {
		DOLOS_LOG_ERR(
			ERROR_BUCKBOOST, ret,
			"Failed write BQ_REG_INPUT_CURRENT_LIM , bq_addr=0x%02x, data=0x%04x, err=%d",
			BQ_REG_INPUT_CURRENT_LIM, input_current_limit_ma, ret);
		return ret;
	}

	LOG_DBG("Wrote BQ BQ_REG_INPUT_CURRENT_LIM basing on smart battery register SB_DESIGN_VOLTAGE, bq_addr=0x%02x, data=0x%04x",
		BQ_REG_INPUT_CURRENT_LIM, input_current_limit_ma);

	return 0;
}

/* Initialize the buckboost option registers to the following:
 * Update the BIT3 RSNS_RAC bit to use 10m ohm in the ChargeOption1 Register
 * Disable the  EN_EXTILIM bit in ChargeOption2 register to allow current output
 * more than 1.5A since the default Input ILMIT hardware setting is 1.5A
 */
int bq25731_init(void)
{
	int ret;

	struct bq_reg_config config[] = {
		{ BQ_REG_CHARGE_OPTION_0, BQ_REG_CHARGE_OPTION_0_VALUE },
		{ BQ_REG_CHARGE_OPTION_1, BQ_REG_CHARGE_OPTION_1_VALUE },
		{ BQ_REG_CHARGE_OPTION_2, BQ_REG_CHARGE_OPTION_2_VALUE },
	};

	LOG_DBG("Initializing buck boost");

	for (int i = 0; i < ARRAY_SIZE(config); i++) {
		ret = bq25731_write_config(config[i].reg_address,
					   config[i].value);
		if (ret) {
			DOLOS_LOG_ERR(ERROR_BUCKBOOST, ret,
				      "Failed to initialize buck boost: %d.",
				      ret);
			return ret;
		}
	}

	/* Initialize BQ Over Current Protection limit */
	ret = bq25731_write_current_limit_sb();
	if (ret != 0) {
		DOLOS_LOG_ERR(
			ERROR_BUCKBOOST, ret,
			"Failed to initialize buck boost, could not initialize INPUT_CURRENT_LIM register, err=%d",
			ret);
		return ret;
	}

	/* Initialize BQ ChargeVoltage and ChargeCurrent registers from smart
	 * battery */
	ret = bq25731_write_charge_voltage_sb();
	if (ret != 0) {
		DOLOS_LOG_ERR(
			ERROR_BUCKBOOST, ret,
			"Failed to initialize buck boost, could not initialize ChargeVoltage register, err=%d",
			ret);
		return ret;
	}

	ret = bq25731_write_charge_current_sb();
	if (ret != 0) {
		DOLOS_LOG_ERR(
			ERROR_BUCKBOOST, ret,
			"Failed to initialize buck boost, could not initialize ChargeCurrent register, err=%d",
			ret);
		return ret;
	}

	LOG_DBG("Buck boost init successfully done");
	return ret;
}

static int cmd_dump_handler(const struct shell *sh, size_t argc, char **argv)
{
	ARG_UNUSED(argc);
	ARG_UNUSED(argv);

	uint8_t ranges_start[] = { 0x00, 0x0e, 0x20, 0x30 };
	uint8_t ranges_end[] = { 0x0c, 0x10, 0x2e, 0x40 };

	uint16_t reg_data;

	int ret;

	for (size_t i = 0; i < ARRAY_SIZE(ranges_start); i++) {
		for (uint8_t j = ranges_start[i]; j < ranges_end[i]; j += 2) {
			ret = i2c_write_read_dt(&i2c_spec, &j, sizeof(j),
						&reg_data, sizeof(reg_data));
			if (ret != 0) {
				shell_error(
					sh,
					"Failed to read register at address=0x%02x, err=%d",
					j, ret);
			}

			shell_print(sh, "@0x%02x: 0x%04x", j, reg_data);
		}
	}

	return 0;
}

SHELL_STATIC_SUBCMD_SET_CREATE(bq_sub_cmds,
			       SHELL_CMD(dump, NULL, "Dumps all BQ registers",
					 cmd_dump_handler),
			       SHELL_SUBCMD_SET_END);

SHELL_CMD_REGISTER(bq, &bq_sub_cmds, "Buckboost command set", NULL);
```

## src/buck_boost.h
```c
/* Copyright 2024 The ChromiumOS Authors
 * Use of this source code is governed by a BSD-style license that can be
 * found in the LICENSE file.
 */

#ifndef BUCK_BOOST_H_
#define BUCK_BOOST_H

#include <stddef.h>
#include <stdint.h>

/* Initialize the buckboost */
int bq25731_init(void);

#endif
```

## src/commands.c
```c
/* Copyright 2024 The ChromiumOS Authors
 * Use of this source code is governed by a BSD-style license that can be
 * found in the LICENSE file.
 */

#include "app_version.h"
#include "bms.h"
#include "eeprom.h"
#include "error.h"
#include "led.h"
#include "smbus_target.h"

#include <zephyr/drivers/gpio.h>
#include <zephyr/shell/shell.h>
#include <zephyr/sys/reboot.h>

#include <ti/driverlib/m0p/dl_sysctl.h>

// TODO(b/438110087): remove guards
#ifdef CONFIG_BOOTLOADER_ENABLED

#include <zephyr/storage/flash_map.h>
#define RO_RECORD_SIZE 32

enum ro_record_offset {
	RO_RECORD_OFFSET_VERSION = 0,
	RO_RECORD_OFFSET_FLAGS = RO_RECORD_SIZE,
	RO_RECORD_OFFSET_UNUSED_1 = 2 * RO_RECORD_SIZE,
	RO_RECORD_OFFSET_UNUSED_2 = 3 * RO_RECORD_SIZE
};

#endif

/**
 * Handles the command that jumps from main code to BSL.
 */
static int cmd_jump_to_bsl_handler(const struct shell *sh, size_t argc,
				   char **argv)
{
	ARG_UNUSED(argc);
	ARG_UNUSED(argv);

	shell_print(sh, "Going into BSL mode");

	/* Erase SRAM completely before jumping to BSL */
	__asm(
#if defined(__GNUC__)
		".syntax unified\n" /* Load SRAMFLASH register*/
#endif
		"ldr     r4, = 0x41C40018\n" /* Load SRAMFLASH register*/
		"ldr     r4, [r4]\n"
		"ldr     r1, = 0x03FF0000\n" /* SRAMFLASH.SRAM_SZ mask */
		"ands    r4, r1\n" /* Get SRAMFLASH.SRAM_SZ */
		"lsrs    r4, r4, #6\n" /* SRAMFLASH.SRAM_SZ to kB */
		"ldr     r1, = 0x20300000\n" /* Start of ECC-code */
		"adds    r2, r4, r1\n" /* End of ECC-code */
		"movs    r3, #0\n"
		"init_ecc_loop: \n" /* Loop to clear ECC-code */
		"str     r3, [r1]\n"
		"adds    r1, r1, #4\n"
		"cmp     r1, r2\n"
		"blo     init_ecc_loop\n"
		"ldr     r1, = 0x20200000\n" /* Start of NON-ECC-data */
		"adds    r2, r4, r1\n" /* End of NON-ECC-data */
		"movs    r3, #0\n"
		"init_data_loop:\n" /* Loop to clear ECC-data */
		"str     r3, [r1]\n"
		"adds    r1, r1, #4\n"
		"cmp     r1, r2\n"
		"blo     init_data_loop\n"
		/* Force a reset calling BSL after clearing SRAM */
		"str     %[resetLvlVal], [%[resetLvlAddr], #0x00]\n"
		"str     %[resetCmdVal], [%[resetCmdAddr], #0x00]"
		: /* No outputs */
		: [resetLvlAddr] "r"(&SYSCTL->SOCLOCK.RESETLEVEL),
		  [resetLvlVal] "r"(DL_SYSCTL_RESET_BOOTLOADER_ENTRY),
		  [resetCmdAddr] "r"(&SYSCTL->SOCLOCK.RESETCMD),
		  [resetCmdVal] "r"(SYSCTL_RESETCMD_KEY_VALUE |
				    SYSCTL_RESETCMD_GO_TRUE)
		: "r1", "r2", "r3", "r4");
	return 0;
}

/**
 * Handles the version command which prints the Dolos firmware version
 */
static int cmd_version_handler(const struct shell *sh, size_t argc, char **argv)
{
	ARG_UNUSED(argc);
	ARG_UNUSED(argv);

	shell_print(sh, "Dolos version %s", APP_VERSION_STRING);

	return 0;
}

// TODO(b/438110087): remove guards
#ifdef CONFIG_BOOTLOADER_ENABLED

static int cmd_version_bootloader_handler(const struct shell *sh, size_t argc,
					  char **argv)
{
	ARG_UNUSED(argc);
	ARG_UNUSED(argv);

	const struct flash_area *ro_partition;
	if (flash_area_open(FIXED_PARTITION_ID(ro_partition), &ro_partition) !=
	    0) {
		shell_print(sh, "ERROR: Unable to open RO partition\n");
		return -1;
	}

	char bootloader_version[RO_RECORD_SIZE];
	// Read first section of RO partition to get version
	if (flash_area_read(ro_partition, RO_RECORD_OFFSET_VERSION,
			    bootloader_version, RO_RECORD_SIZE) != 0) {
		shell_print(sh, "ERROR: Unable to read bootloader version\n");
		return -1;
	}

	bootloader_version[RO_RECORD_SIZE - 1] = '\0';
	shell_print(sh, "Bootloader version %s", bootloader_version);
	return 0;
}
#endif

static bool read_gpio_state(const struct shell *sh,
			    const struct gpio_dt_spec *spec)
{
	int value = gpio_pin_get(spec->port, spec->pin);
	if (value < 0) {
		shell_print(sh, "Error reading GPIO pin\n");
		return -1;
	}

	return (value != 0);
}

void print_system_present_state(const struct shell *sh)
{
	/* Get system present force status string */
	char sys_pres_forced_str[64] = { 0 };
	sprintf(sys_pres_forced_str, " (Signal was forced, raw signal %s)",
		bms_get_sys_pres_raw() ? "HIGH" : "LOW");

	shell_print(
		sh,
		"SYSTEM_PRESENT pin state : %s (signal %s, polarity %s%s%s)\n",
		bms_get_sys_pres() ? "Present" : "Absent",
		bms_get_sys_pres() ? "HIGH" : "LOW",
		bms_get_sys_pres_pol() ? "HIGH" : "LOW",
		bms_get_sys_pres_is_floating() ? "(floating)" : "",
		bms_is_sys_pres_forced() ? sys_pres_forced_str : "");
}

int print_leds_state(const struct shell *sh)
{
	shell_print(sh, "Error LED                : %s\r\n",
		    dled_error_led_is_on() ? "On" : "Off");
	shell_print(sh, "Programmed LED           : %s\r\n",
		    dled_program_led_is_on() ? "On" : "Off");
	shell_print(sh, "Ready LED                : %s\r\n",
		    dled_ready_led_is_on() ? "On" : "Off");
	shell_print(sh, "Powering LED             : %s\r\n",
		    dled_powering_led_is_on() ? "On" : "Off");
	return 0;
}

// Define a command handler function for GPIO pins
static int gpio_cmd_handler(const struct shell *sh, size_t argc, char **argv)
{
	bool state;
	if (argc == 1) {
		const struct gpio_dt_spec spec_efuse_pg =
			GPIO_DT_SPEC_GET(DT_NODELABEL(efuse_pg), gpios);
		state = read_gpio_state(sh, &spec_efuse_pg);
		shell_print(sh, "EFSUE_PG pin state       : %d\r\n", state);
		const struct gpio_dt_spec spec =
			GPIO_DT_SPEC_GET(DT_NODELABEL(bq_charge_ok), gpios);
		state = read_gpio_state(sh, &spec);
		shell_print(sh, "CHRG_OK pin state        : %d\r\n", state);
		shell_print(sh, "Power Output Enable      : %d\r\n",
			    bms_get_power_output_state());
		print_system_present_state(sh);
		print_leds_state(sh);
	}
	return 0;
}

// Define a command handler function for GPIO sub-command
static int sub_gpio_cmd_handler(const struct shell *sh, size_t argc,
				char **argv, void *data)
{
	bool state;
	if (strcmp("efuse-pg", (char *)data) == 0) {
		const struct gpio_dt_spec spec =
			GPIO_DT_SPEC_GET(DT_NODELABEL(efuse_pg), gpios);
		state = read_gpio_state(sh, &spec);
		shell_print(sh, "EFSUE_PG pin state: %d\r\n", state);
	} else if (strcmp("chrg-ok", (char *)data) == 0) {
		const struct gpio_dt_spec spec =
			GPIO_DT_SPEC_GET(DT_NODELABEL(bq_charge_ok), gpios);
		state = read_gpio_state(sh, &spec);
		shell_print(sh, "CHRG_OK pin state: %d\r\n", state);
	} else if (strcmp("system-present", (char *)data) == 0) {
		print_system_present_state(sh);
	}

	return 0;
}

static char how_jump_to[5][150] = {
	"Transition to BMS_STATE_POWER_OUTPUT_OFF happens when either the system or charger is disconnected.",
	"Transition to BMS_STATE_TIMER happens when the system and charger are connected. When FLOAT polarity also I2C comm from DUT in last 2s expected.",
	"Transition to BMS_STATE_POWER_GOOD_WAIT happens when the system and charger are connected and the input voltage is out of efuse range.",
	"Transition to BMS_STATE_POWER_OUTPUT_ON happens when the system and charger are connected and the input voltage is within efuse range.",
	"Transition to BMS_STATE_COMM_POWER_OFF happens when either the system or charger is disconnected and configured polarity is FLOAT."
};

static int status_cmd_handler(const struct shell *sh, int argc, char **argv)
{
	ARG_UNUSED(argc);
	ARG_UNUSED(argv);

	/* Calculate uptime */
	uint64_t uptime = k_uptime_get();
	uint32_t days;
	uint8_t hours;
	uint8_t minutes;
	uint8_t seconds;

	days = uptime / (1000 * 60 * 60 * 24);
	uptime %= 1000 * 60 * 60 * 24;
	hours = uptime / (1000 * 60 * 60);
	uptime %= 1000 * 60 * 60;
	minutes = uptime / (1000 * 60);
	uptime %= 1000 * 60;
	seconds = uptime / 1000;

	/* Get system present force status string */
	char sys_pres_forced_str[64] = { 0 };
	sprintf(sys_pres_forced_str, " (Signal was forced, raw signal %s)",
		bms_get_sys_pres_raw() ? "HIGH" : "LOW");

	/* Get BMS current state string */
	enum bms_state bms_state = bms_get_curr_state();
	char bms_state_str[32] = { 0 };
	char next_bms_state_str[168] = { 0 };
	char next_bms_state_desc[700] = { 0 };

	switch (bms_state) {
	case BMS_STATE_POWER_OUTPUT_OFF:
		strcpy(bms_state_str, ENUM_NAME(BMS_STATE_POWER_OUTPUT_OFF));
		strcpy(next_bms_state_str, ENUM_NAME(BMS_STATE_TIMER));
		sprintf(next_bms_state_desc, "%s",
			how_jump_to[BMS_STATE_TIMER]);
		break;
	case BMS_STATE_TIMER:
		strcpy(bms_state_str, ENUM_NAME(BMS_STATE_TIMER));
		sprintf(next_bms_state_str,
			"Next States can be %s or %s or %s or %s",
			ENUM_NAME(BMS_STATE_POWER_OUTPUT_OFF),
			ENUM_NAME(BMS_STATE_POWER_OUTPUT_ON),
			ENUM_NAME(BMS_STATE_POWER_GOOD_WAIT),
			ENUM_NAME(BMS_STATE_COMM_POWER_OFF));
		sprintf(next_bms_state_desc, "%s\n%24s %s\n%24s %s\n%24s %s",
			how_jump_to[BMS_STATE_POWER_OUTPUT_OFF], "",
			how_jump_to[BMS_STATE_POWER_OUTPUT_ON], "",
			how_jump_to[BMS_STATE_POWER_GOOD_WAIT], "",
			how_jump_to[BMS_STATE_COMM_POWER_OFF]);
		break;
	case BMS_STATE_POWER_GOOD_WAIT:
		strcpy(bms_state_str, ENUM_NAME(BMS_STATE_POWER_GOOD_WAIT));
		sprintf(next_bms_state_str, "Next States can be %s or %s or %s",
			ENUM_NAME(BMS_STATE_POWER_OUTPUT_ON),
			ENUM_NAME(BMS_STATE_POWER_OUTPUT_OFF),
			ENUM_NAME(BMS_STATE_COMM_POWER_OFF));
		sprintf(next_bms_state_desc, "%s\n%24s %s\n%24s %s",
			how_jump_to[BMS_STATE_POWER_OUTPUT_ON], "",
			how_jump_to[BMS_STATE_POWER_OUTPUT_OFF], "",
			how_jump_to[BMS_STATE_COMM_POWER_OFF]);
		break;
	case BMS_STATE_POWER_OUTPUT_ON:
		strcpy(bms_state_str, ENUM_NAME(BMS_STATE_POWER_OUTPUT_ON));
		sprintf(next_bms_state_str, "Next States can be %s or %s or %s",
			ENUM_NAME(BMS_STATE_POWER_GOOD_WAIT),
			ENUM_NAME(BMS_STATE_POWER_OUTPUT_OFF),
			ENUM_NAME(BMS_STATE_COMM_POWER_OFF));
		sprintf(next_bms_state_desc, "%s\n%24s %s\n%24s %s",
			how_jump_to[BMS_STATE_POWER_GOOD_WAIT], "",
			how_jump_to[BMS_STATE_POWER_OUTPUT_OFF], "",
			how_jump_to[BMS_STATE_COMM_POWER_OFF]);
		break;
	case BMS_STATE_COMM_POWER_OFF:
		strcpy(bms_state_str, ENUM_NAME(BMS_STATE_COMM_POWER_OFF));
		strcpy(next_bms_state_str, ENUM_NAME(BMS_STATE_TIMER));
		sprintf(next_bms_state_desc, "%s",
			how_jump_to[BMS_STATE_TIMER]);
		break;
	default:
		strcpy(bms_state_str, ENUM_NAME(BMS_STATE_INVALID));
		strcpy(next_bms_state_str, ENUM_NAME(BMS_STATE_INVALID));
		break;
	}

	/* Print status */
	shell_print(sh, "Dolos status:");
	shell_print(
		sh,
		"    Uptime             : %d days and %02d:%02d:%02d seconds",
		days, hours, minutes, seconds);
	shell_print(sh, "    Charger            : %s",
		    bms_get_chrg_ok() ? "Detected" : "Not detected");
	shell_print(sh, "    E-Fuse Power       : %s",
		    bms_get_efuse_pg() ? "Good" : "Not good");
	shell_print(sh,
		    "    System present     : %s (signal %s, polarity %s%s%s)",
		    bms_get_sys_pres() ? "Present" : "Absent",
		    bms_get_sys_pres_raw() ? "HIGH" : "LOW",
		    bms_get_sys_pres_pol() ? "HIGH" : "LOW",
		    bms_get_sys_pres_is_floating() ? "(floating)" : "",
		    bms_is_sys_pres_forced() ? sys_pres_forced_str : "");
	shell_print(sh, "    BMS current state  : %s", bms_state_str);
	shell_print(sh, "    BMS next state     : %s", next_bms_state_str);
	if (strcmp(next_bms_state_str, ENUM_NAME(BMS_STATE_INVALID)) != 0) {
		shell_print(sh, "%24s %s", "", next_bms_state_desc);
	}
	shell_print(sh, "    SMBus communication: %s",
		    smbus_target_is_comms_detected_long() ? "Detected" :
							    "Not detected");
	if (strcmp(eeprom_status, "EEPROM Read Error.") != 0) {
		shell_print(sh,
			    "    Serial number      : DOLOSV1-C-%02d20%02d%04d",
			    eeprom_get_week(), eeprom_get_year(),
			    eeprom_get_serial_no());
	} else {
		shell_print(
			sh,
			"    Serial number      : No cable - can't read serial.");
	}
	shell_print(sh, "    EEPROM             : %s", eeprom_status);

	return 0;
}

static int cmd_reset_handler(const struct shell *shell, size_t argc,
			     char **argv)
{
	ARG_UNUSED(argc);
	ARG_UNUSED(argv);

	shell_print(shell, "Resetting device...\n");

	// Delay to ensure the message is printed
	k_sleep(K_SECONDS(1));

	sys_reboot(SYS_REBOOT_COLD);

	return 0;
}

SHELL_CMD_REGISTER(reset, NULL, "Reset the device", cmd_reset_handler);
SHELL_CMD_REGISTER(version, NULL, "Prints Dolos version", cmd_version_handler);
SHELL_CMD_REGISTER(bsl, NULL, "Invokes BSL", cmd_jump_to_bsl_handler);
// TODO(b/438110087): remove guards
#ifdef CONFIG_BOOTLOADER_ENABLED
SHELL_CMD_REGISTER(version_bootloader, NULL, "Prints bootloader version",
		   cmd_version_bootloader_handler);
#endif

SHELL_SUBCMD_DICT_SET_CREATE(sub_gpio_cmds, sub_gpio_cmd_handler,
			     (efuse_pg, "efuse-pg", "efuse-pg value"),
			     (chrg_ok, "chrg-ok", "chrg-ok value"),
			     (system_present, "system-present",
			      "system-present value"));

SHELL_CMD_REGISTER(gpio, &sub_gpio_cmds,
		   "Checks the state of the GPIO pins on Dolos",
		   gpio_cmd_handler);

SHELL_CMD_REGISTER(status, NULL, "Prints Dolos status", status_cmd_handler);
```

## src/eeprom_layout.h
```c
../../sb-config/src/eeprom_layout.h
```

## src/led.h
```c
/* Copyright 2024 The ChromiumOS Authors
 * Use of this source code is governed by a BSD-style license that can be
 * found in the LICENSE file.
 */

#ifndef LED_H_
#define LED_H

#include <stdbool.h>

#include <zephyr/drivers/led.h>

void dled_error_led_turn_on();
void dled_error_led_turn_off();
bool dled_error_led_is_on();
void dled_program_led_turn_on();
void dled_program_led_turn_off();
bool dled_program_led_is_on();
void dled_ready_led_turn_on();
void dled_ready_led_turn_off();
bool dled_ready_led_is_on();
void dled_powering_led_turn_on();
void dled_powering_led_turn_off();
bool dled_powering_led_is_on();
#endif
```
